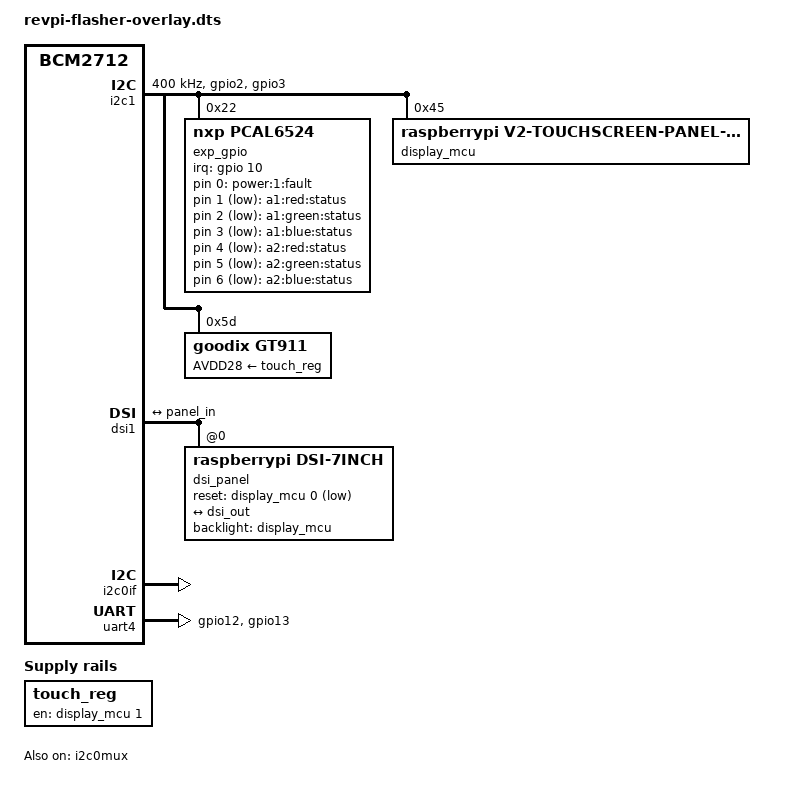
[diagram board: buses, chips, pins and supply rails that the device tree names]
// SPDX-License-Identifier: GPL-2.0
// SPDX-FileCopyrightText: Copyright 2025 KUNBUS GmbH

#include <dt-bindings/gpio/gpio.h>
#include <dt-bindings/interrupt-controller/irq.h>

/dts-v1/;
/plugin/;

/ {
	compatible = "brcm,bcm2712";

	fragment@0 {
		target-path = "/";
		__overlay__ {
			compatible = "kunbus,revpi-flasher", "brcm,bcm2712";

			leds {
				compatible = "gpio-leds";
				power_red {
					label = "power:1:fault";
					gpios = <&exp_gpio 0 GPIO_ACTIVE_HIGH>;
					linux,default-trigger = "power_red";
				};
				a1_red {
					label = "a1:red:status";
					gpios = <&exp_gpio 1 GPIO_ACTIVE_LOW>;
					linux,default-trigger = "a1_red";
				};
				a1_green {
					label = "a1:green:status";
					gpios = <&exp_gpio 2 GPIO_ACTIVE_LOW>;
					linux,default-trigger = "a1_green";
				};
				a1_blue {
					label = "a1:blue:status";
					gpios = <&exp_gpio 3 GPIO_ACTIVE_LOW>;
					linux,default-trigger = "a1_blue";
				};
				a2_red {
					label = "a2:red:status";
					gpios = <&exp_gpio 4 GPIO_ACTIVE_LOW>;
					linux,default-trigger = "a2_red";
				};
				a2_green {
					label = "a2:green:status";
					gpios = <&exp_gpio 5 GPIO_ACTIVE_LOW>;
					linux,default-trigger = "a2_green";
				};
				a2_blue {
					label = "a2:blue:status";
					gpios = <&exp_gpio 6 GPIO_ACTIVE_LOW>;
					linux,default-trigger = "a2_blue";
				};
			};

			/* Raspberry Pi display configuration taken from
			* vc4-kms-dsi-ili9881-7inch-overlay.dts. */
			touch_reg: touch_reg@1 {
				reg = <1>;
				compatible = "regulator-fixed";
				regulator-name = "touch_reg_1";
				gpio = <&display_mcu 1 GPIO_ACTIVE_HIGH>;
				startup-delay-us = <50000>;
				enable-active-high;
			};
		};
	};

	/* GPIOS/PINMUX */
	fragment@1 {
		target = <&gpio>;
		__overlay__ {
			gpio-line-names =
				"ID_SDA", // GPIO0
				"ID_SCL", // GPIO1
				"I2C1_SDA", // GPIO2
				"I2C1_SCL", // GPIO3
				"-", // GPIO4
				"-", // GPIO5
				"-", // GPIO6
				"-", // GPIO7
				"-", // GPIO8
				"-", // GPIO9
				"nDUT_INT", // GPIO10
				"-", // GPIO11
				"UART4_TX", // GPIO12
				"UART4_RX", // GPIO13
				"-", // GPIO14
				"-", // GPIO15
				"-", // GPIO16
				"ID_WP", // GPIO17
				"-", // GPIO18
				"-", // GPIO19
				"-", // GPIO20
				"-", // GPIO21
				"-", // GPIO22
				"RSVD_4", // GPIO23
				"RSVD_3", // GPIO24
				"-", // GPIO25
				"RSVD_1", // GPIO26
				"-", // GPIO27

				/*
				 * GPIO line names >= 28 are taken from
				 * arch/arm64/boot/dts/broadcom/bcm2712-rpi-cm5.dtsi
				 */
				"PCIE_PWR_EN", // GPIO28
				"FAN_TACH", // GPIO29
				"HOST_SDA", // GPIO30
				"HOST_SCL", // GPIO31
				"ETH_RST_N", // GPIO32
				"PCIE_DET_WAKE", // GPIO33

				"CD0_IO0_MICCLK", // GPIO34
				"CD0_IO0_MICDAT0", // GPIO35
				"RP1_PCIE_CLKREQ_N", // GPIO36
				"ETH_IRQ_N", // GPIO37
				"SDA0", // GPIO38
				"SCL0", // GPIO39
				"-", // GPIO40
				"-", // GPIO41
				"USB_VBUS_EN", // GPIO42
				"USB_OC_N", // GPIO43
				"RP1_STAT_LED", // GPIO44
				"FAN_PWM", // GPIO45
				"-", // GPIO46
				"2712_WAKE", // GPIO47
				"-", // GPIO48
				"-", // GPIO49
				"-", // GPIO50
				"-", // GPIO51
				"-", // GPIO52
				"-"; // GPIO53

			i2c1_pins: i2c1_pins {
				/* SDA, SCL */
				function = "i2c1";
				pins = "gpio2", "gpio3";
				bias-disable;
			};
			i2c1_irq_pins: i2c1_irq_pins {
				/* IRQ */
				function = "gpio";
				pins = "gpio10";
				bias-disable;
			};
			flasher_uart4_pins: flasher_uart4_pins {
				/* TX RX */
				function = "uart4";
				pins = "gpio12", "gpio13";
				bias-disable;
			};
		};
	};

	/* I2C1 */
	fragment@2 {
		target = <&i2c1>;
		__overlay__ {
			pinctrl-names = "default";
			pinctrl-0 = <&i2c1_pins>;
			clock-frequency = <400000>;
			status = "okay";

			exp_gpio: gpio@22 {
				/* 100kHz, 400kHz */
				compatible = "nxp,pcal6524";
				pinctrl-names = "default";
				pinctrl-0 = <&i2c1_irq_pins>;
				reg = <0x22>;
				#gpio-cells = <2>;
				interrupt-controller;
				#interrupt-cells = <2>;
				interrupt-parent = <&gpio>;
				interrupts = <10 IRQ_TYPE_LEVEL_LOW>;
				status = "okay";
				gpio-line-names =
					"LEDS_PWRRED", // GPIO0 / P0_0
					"LEDS_A1RED", // GPIO1 / P0_1
					"LEDS_A1GRN", // GPIO2 / P0_2
					"LEDS_A1BLUE", // GPIO3 / P0_3
					"LEDS_A2RED", // GPIO4 / P0_4
					"LEDS_A2GRN", // GPIO5 / P0_5
					"LEDS_A2BLUE", // GPIO6 / P0_6
					"LEDS_PWRBLUE", // GPIO7 / P0_7
					"DUT4_RUN", // GPIO8 / P1_0
					"DUT3_RUN", // GPIO9 / P1_1
					"DUT2_RUN", // GPIO10 / P1_2
					"DUT7_RUN", // GPIO11 / P1_3
					"DUT8_RUN", // GPIO12 / P1_4
					"DUT7_RUN", // GPIO13 / P1_5
					"DUT6_RUN", // GPIO14 / P1_6
					"DUT5_RUN", // GPIO15 / P1_7
					"DUT4_DIAG", // GPIO16 / P2_0
					"DUT3_DIAG", // GPIO17 / P2_1
					"DUT2_DIAG", // GPIO18 / P2_2
					"DUT7_DIAG", // GPIO19 / P2_3
					"DUT8_DIAG", // GPIO20 / P2_4
					"DUT7_DIAG", // GPIO21 / P2_5
					"DUT6_DIAG", // GPIO22 / P2_6
					"DUT5_DIAG"; // GPIO23 / P2_7
			};

			/* Raspberry Pi display configuration taken from
			* vc4-kms-dsi-ili9881-7inch-overlay.dts. */
			display_mcu: display_mcu@45
			{
				compatible = "raspberrypi,v2-touchscreen-panel-regulator";
				reg = <0x45>;
				gpio-controller;
				#gpio-cells = <2>;
			};

			gt911: gt911@5d {
				compatible = "goodix,gt911";
				reg = <0x5d>;
				AVDD28-supply = <&touch_reg>;
				touchscreen-size-x = <720>;
				touchscreen-size-y = <1280>;
				touchscreen-x-mm = <90>;
				touchscreen-y-mm = <151>;
			};
		};
	};

	/* Raspberry Pi display configuration taken from
	* vc4-kms-dsi-ili9881-7inch-overlay.dts. */
	dsi_frag: fragment@3 {
		target = <&dsi1>;
		__overlay__  {
			#address-cells = <1>;
			#size-cells = <0>;
			status = "okay";

			port {
				dsi_out: endpoint {
					remote-endpoint = <&panel_in>;
				};
			};

			dsi_panel: dsi_panel@0 {
				reg = <0>;
				compatible = "raspberrypi,dsi-7inch";
				reset-gpio = <&display_mcu 0 GPIO_ACTIVE_LOW>;
				backlight = <&display_mcu>;
				rotation = <270>;

				port {
					panel_in: endpoint {
						remote-endpoint = <&dsi_out>;
					};
				};
			};
		};
	};

	fragment@4 {
		target = <&i2c0if>;
		__overlay__ {
			status = "okay";
		};
	};

	fragment@5 {
		target = <&i2c0mux>;
		__overlay__ {
			status = "okay";
		};
	};

	fragment@6 {
		target = <&uart4>;
		__overlay__ {
			pinctrl-names = "default";
			pinctrl-0 = <&flasher_uart4_pins>;
			status = "okay";
		};
	};

	/* Permanently disable HDMI1 */
	fragment@7 {
		target = <&hdmi1>;
		__overlay__ {
			/* make compatible unusable so it can't get probed */
			compatible = "disabled";
			status = "disabled";
		};
	};

	fragment@8 {
		target = <&ddc1>;
		__overlay__ {
			/* make compatible unusable so it can't get probed */
			compatible = "disabled";
			status = "disabled";
		};
	};

	fragment@9 {
		target = <&pixelvalve1>;
		__overlay__ {
			/* make compatible unusable so it can't get probed */
			compatible = "disabled";
			status = "disabled";
		};
	};
};
